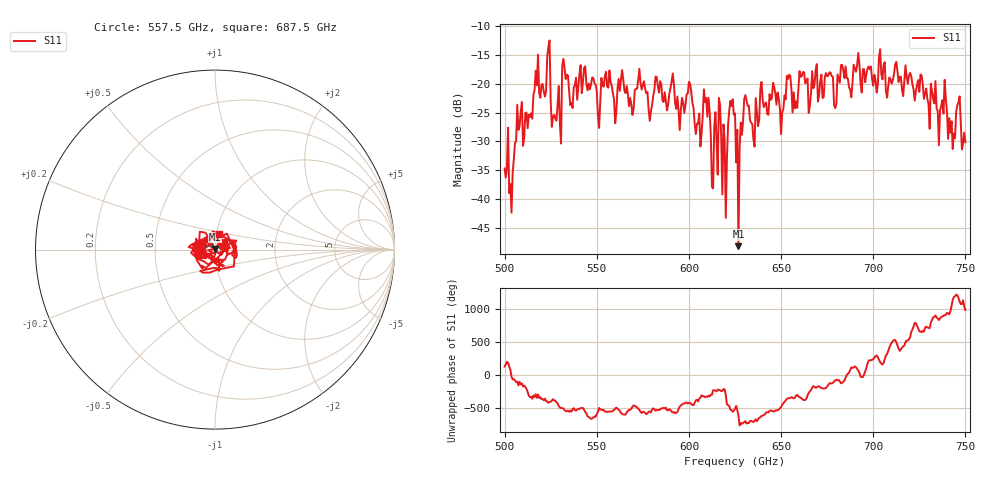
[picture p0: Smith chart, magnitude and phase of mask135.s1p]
!Created with skrf (http://scikit-rf.org).
# GHz S MA R 50.0
!freq magS11 angS11
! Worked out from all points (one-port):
!   401 points, 500 GHz to 750 GHz, reference 50 ohm
!   lowest |S11| = -48.1 dB at 626.9 GHz (marker M1), VSWR 1.01, Z = 49.9 + j0.379 ohm
!   |S11| at or under -10 dB: start of sweep to end of sweep
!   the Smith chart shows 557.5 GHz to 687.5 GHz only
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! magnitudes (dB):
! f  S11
! 500 GHz  -34.7
! 503.8 GHz  -42.3
! 508.1 GHz  -27.4
! 513.8 GHz  -25.7
! 516.9 GHz  -17.8
! 523.8 GHz  -13.6
! 526.9 GHz  -25.4
! 531.2 GHz  -17.0
! 562.5 GHz  -21.3
! 593.8 GHz  -22.2
! 600 GHz  -19.7
! 605.6 GHz  -25.2
! 609.4 GHz  -22.5
! 612.5 GHz  -37.9
! 615.6 GHz  -35.8
! 619.4 GHz  -29.7
! 622.5 GHz  -23.0
! 625 GHz  -25.2
! 626.9 GHz  -48.1
! 631.2 GHz  -22.9
! 634.4 GHz  -27.0
! 640 GHz  -22.7
! 656.2 GHz  -25.0
! 687.5 GHz  -21.1
! 718.8 GHz  -20.0
! 743.1 GHz  -31.3
! 746.2 GHz  -23.3
! 750 GHz  -30.1
